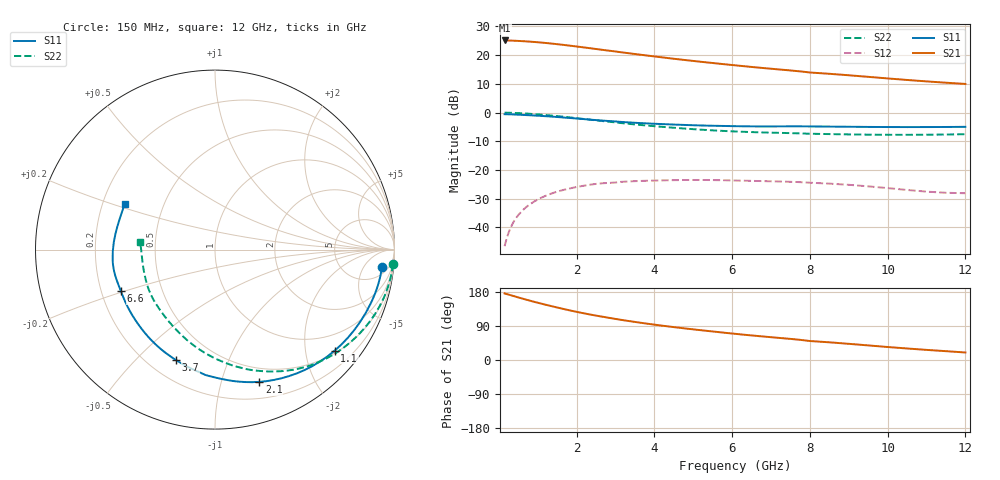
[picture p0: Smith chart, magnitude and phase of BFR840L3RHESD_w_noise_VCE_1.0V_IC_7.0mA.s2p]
! Infineon Technologies  Discrete & RF Semiconductors
! BFR840L3RHESD
! VCE =  1.0 V,  IC =  7.0 mA
! Common Emitter S-Parameters:  Jun 2012
# GHz  S  MA  R  50
!  f  S11  S21  S12  S22
! GHz  MAG  ANG  MAG  ANG  MAG  ANG  MAG  ANG
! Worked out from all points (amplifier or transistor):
!   91 points, 150 MHz to 12 GHz, reference 50 ohm
!   highest |S21| = 25.1 dB at 150 MHz (marker M1)
!   |S21| within 3 dB of that: start of sweep to 2.513 GHz
!   unconditionally stable (mu >= 1): 8.799 GHz to end of sweep
!   at 1.3 GHz: K = 0.12, MSG = 26.3 dB, |S12| = -28.5 dB
!   at 4.3 GHz: K = 0.35, MSG = 21.3 dB, |S12| = -23.6 dB
!   at 12 GHz: K = 2.21, MAG = 12.8 dB, |S12| = -28.1 dB
!   lowest NFmin = 0.57 dB at 450 MHz
!   S11 on the Smith chart (normalised r, x): 150 MHz: 9, -14; 1.1 GHz: 0.56, -2.63; 2.1 GHz: 0.36, -1.33; 3.7 GHz: 0.31, -0.66; 6.6 GHz: 0.28, -0.19; 12 GHz: 0.29, +0.22
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0.15  0.9347 -5.8  18.02 175.6  0.0047 82.8  0.9946 -4.7
0.35  0.9278 -13.4  17.88 169.7  0.0114 78.1  0.9875 -11.2
0.6  0.9111 -22.7  17.54 162.3  0.0194 75.6  0.97 -19.0
0.9  0.8888 -33.4  16.99 153.8  0.0279 67.8  0.9406 -27.8
1.1  0.8727 -40.2  16.55 148.6  0.033 62.5  0.9178 -33.5
1.4  0.8459 -50.1  15.8 141.0  0.0398 56.3  0.8805 -41.8
1.6  0.8266 -56.5  15.26 136.2  0.0437 53.0  0.8542 -47.0
1.8  0.8068 -62.7  14.71 131.5  0.0472 50.0  0.8269 -52.1
2.1  0.777 -71.5  13.88 125.0  0.0519 45.1  0.7849 -59.2
2.2  0.7672 -74.3  13.6 123.0  0.0533 43.3  0.771 -61.5
2.5  0.7389 -82.2  12.79 117.2  0.0571 38.2  0.7312 -68.0
2.9  0.7068 -92.0  11.81 110.1  0.0598 33.2  0.6848 -75.9
3.3  0.6761 -101.2  10.89 103.5  0.0628 28.4  0.6402 -83.6
3.7  0.6523 -109.6  10.06 97.5  0.0645 24.4  0.603 -90.6
4.2  0.6295 -119.2  9.147 90.6  0.0658 20.1  0.5639 -98.7
5.1  0.5982 -134.8  7.792 79.7  0.0669 13.3  0.5081 -112.3
6.1  0.5786 -149.6  6.626 68.9  0.0654 7.3  0.4676 -126.1
6.6  0.5733 -156.2  6.138 63.9  0.0643 4.9  0.4543 -132.6
8  0.5728 -174.7  4.986 50.1  0.0599 -1.3  0.4273 -151.6
8.5  0.5693 -179.3  4.733 46.7  0.0578 -2.9  0.4212 -156.1
10.5  0.5579 162.8  3.695 30.4  0.0448 -4.2  0.4093 -175.2
12  0.5638 153.4  3.15 19.8  0.0393 5.7  0.4198 174.2
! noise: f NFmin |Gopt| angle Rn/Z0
0.45  0.57  0.44  6  0.17
0.9  0.6  0.43  11  0.17
1.9  0.64  0.45  29  0.16
3.5  0.65  0.43  48  0.15
4  0.67  0.43  57  0.15
5.5  0.7  0.44  70  0.13
7  0.78  0.42  91  0.12
8  0.84  0.4  100  0.11
10  0.96  0.36  123  0.1
12  1.12  0.32  153  0.09
